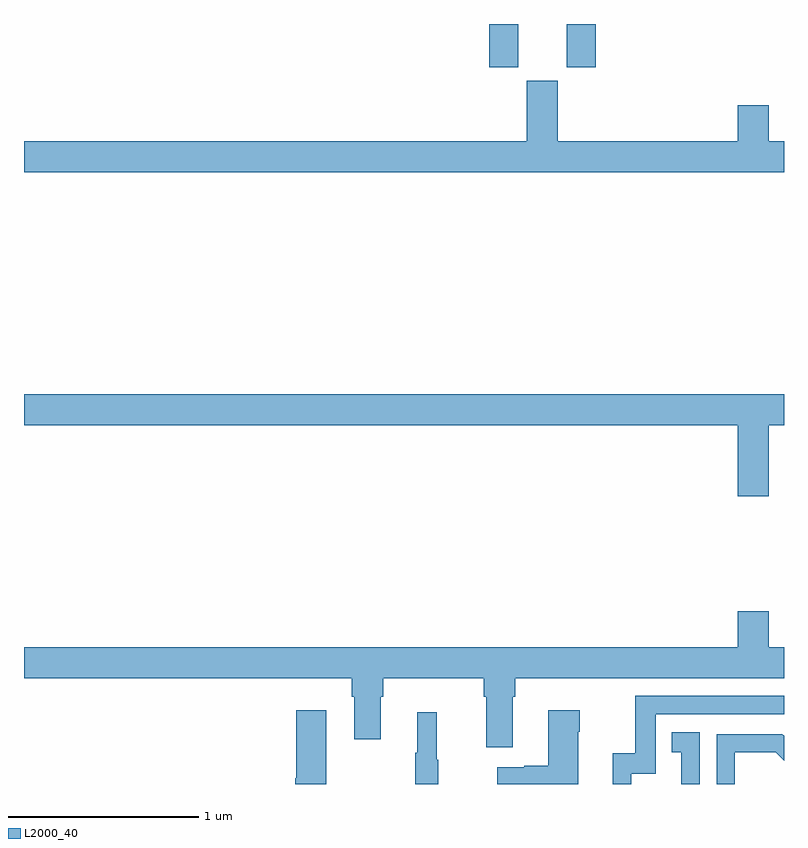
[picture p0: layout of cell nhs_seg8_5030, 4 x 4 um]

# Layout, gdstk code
import gdstk
lib = gdstk.Library(unit=1e-6, precision=1e-09)
def R(c, l, rs):  # rectangles x0, y0, x1, y1
    for r in rs: c.add(gdstk.rectangle(r[:2], r[2:], *l))
def P(c, l, *ps):  # polygons
    for p in ps: c.add(gdstk.Polygon(p, *l))
L2000_40 = (2000, 40)

nhs_seg8_5030 = lib.new_cell('nhs_seg8_5030')
R(nhs_seg8_5030, L2000_40, [(415.448,1163.673,415.6,1163.9), (415.856,1163.673,416.009,1163.9)])
P(nhs_seg8_5030, L2000_40, [(417,1163.284),(416.92,1163.284),(416.92,1163.473),(416.756,1163.473),(416.756,1163.284),(415.81,1163.284),(415.81,1163.601),(415.646,1163.601),(415.646,1163.284),(413,1163.284),(413,1163.12),(417,1163.12)],
  [(416.92,1161.788),(417,1161.788),(417,1161.952),(413,1161.952),(413,1161.788),(416.756,1161.788),(416.756,1161.414),(416.92,1161.414)],
  [(415.573,1160.36),(415.586,1160.36),(415.586,1160.456),(417,1160.456),(417,1160.62),(416.92,1160.62),(416.92,1160.809),(416.756,1160.809),(416.756,1160.62),(413,1160.62),(413,1160.456),(414.725,1160.456),(414.725,1160.36),(414.737,1160.36),(414.737,1160.136),(414.877,1160.136),(414.877,1160.36),(414.89,1160.36),(414.89,1160.456),(415.421,1160.456),(415.421,1160.36),(415.433,1160.36),(415.433,1160.094),(415.573,1160.094)],
  [(416.196,1159.953),(416.325,1159.953),(416.325,1160.268),(417,1160.268),(417,1160.364),(416.217,1160.364),(416.217,1160.062),(416.099,1160.062),(416.099,1159.9),(416.196,1159.9)],
  [(414.592,1160.287),(414.434,1160.287),(414.434,1159.929),(414.428,1159.929),(414.428,1159.9),(414.592,1159.9)],
  [(415.918,1160.174),(415.926,1160.174),(415.926,1160.287),(415.76,1160.287),(415.76,1159.997),(415.634,1159.997),(415.634,1159.987),(415.491,1159.987),(415.491,1159.9),(415.918,1159.9)],
  [(415.18,1160.028),(415.172,1160.028),(415.172,1160.278),(415.07,1160.278),(415.07,1160.065),(415.059,1160.065),(415.059,1159.9),(415.18,1159.9)],
  [(416.556,1160.173),(416.41,1160.173),(416.41,1160.067),(416.459,1160.067),(416.459,1159.9),(416.556,1159.9)],
  [(416.742,1160.066),(416.956,1160.066),(417,1160.022),(417,1160.155),(416.992,1160.163),(416.646,1160.163),(416.646,1159.9),(416.742,1159.9)])

lib.write_gds('nhs_seg8_5030.gds')
